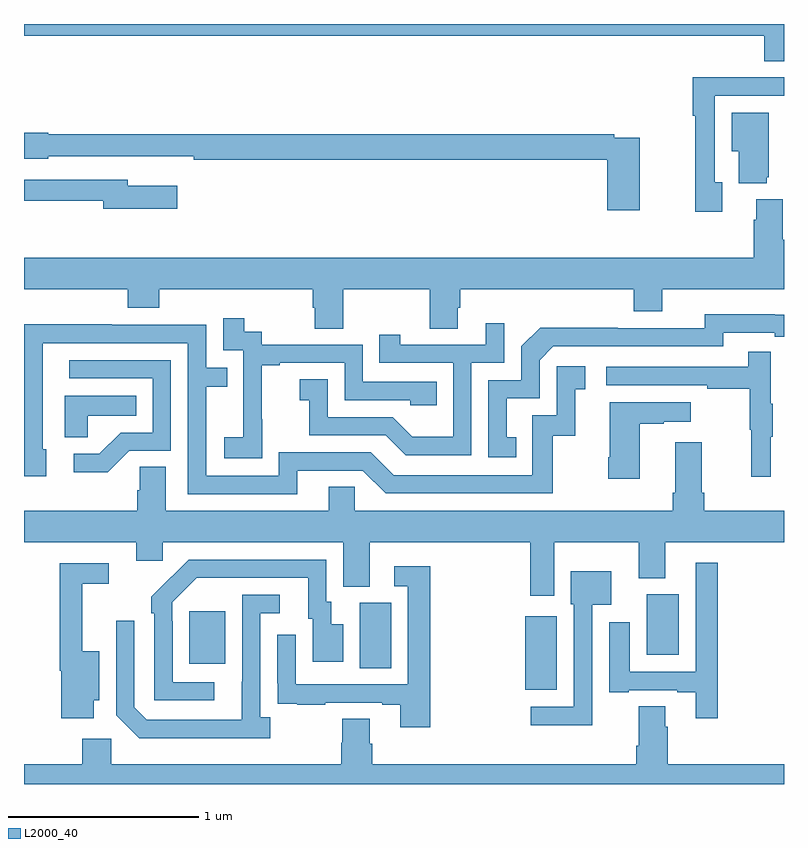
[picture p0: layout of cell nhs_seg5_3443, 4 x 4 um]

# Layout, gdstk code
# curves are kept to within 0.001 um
import gdstk
lib = gdstk.Library(unit=1e-6, precision=1e-09)
def R(c, l, rs):  # rectangles x0, y0, x1, y1
    for r in rs: c.add(gdstk.rectangle(r[:2], r[2:], *l))
def P(c, l, *ps):  # polygons
    for p in ps: c.add(gdstk.Polygon(p, *l))
L2000_40 = (2000, 40)

nhs_seg5_3443 = lib.new_cell('nhs_seg5_3443')
R(nhs_seg5_3443, L2000_40, [(315.638,877.295,315.805,877.681), (314.768,877.408,314.932,877.752), (313.871,877.433,314.059,877.708), (316.277,877.478,316.447,877.798)])
P(nhs_seg5_3443, L2000_40, [(317,880.799),(313,880.799),(313,880.736),(316.895,880.736),(316.895,880.603),(317,880.603)],
  [(316.675,879.966),(316.635,879.966),(316.635,880.422),(317,880.422),(317,880.518),(316.811,880.518),(316.811,880.52),(316.519,880.52),(316.519,880.315),(316.534,880.315),(316.534,879.81),(316.675,879.81)],
  [(316.91,879.993),(316.921,879.993),(316.921,880.333),(316.724,880.333),(316.724,880.13),(316.763,880.13),(316.763,879.962),(316.91,879.962)],
  [(316.24,880.2),(316.106,880.2),(316.106,880.22),(313.128,880.22),(313.128,880.226),(313,880.226),(313,880.091),(313.128,880.091),(313.128,880.104),(313.642,880.104),(313.642,880.103),(313.894,880.103),(313.894,880.084),(316.07,880.084),(316.07,879.819),(316.24,879.819)],
  [(313.807,879.949),(313.546,879.949),(313.546,879.978),(313,879.978),(313,879.87),(313.418,879.87),(313.418,879.827),(313.807,879.827)],
  [(314.679,879.404),(315.136,879.404),(315.136,879.196),(315.283,879.196),(315.283,879.306),(315.296,879.306),(315.296,879.404),(316.208,879.404),(316.208,879.287),(316.36,879.287),(316.36,879.404),(317,879.404),(317,879.664),(316.993,879.664),(316.993,879.877),(316.853,879.877),(316.853,879.77),(316.841,879.77),(316.841,879.568),(313,879.568),(313,879.404),(313.547,879.404),(313.547,879.305),(313.712,879.305),(313.712,879.404),(314.519,879.404),(314.519,879.306),(314.531,879.306),(314.531,879.196),(314.679,879.196)],
  [(315.59,878.625),(315.541,878.625),(315.541,878.829),(315.714,878.829),(315.714,879.03),(315.786,879.102),(316.68,879.102),(316.68,879.174),(316.952,879.174),(316.952,879.154),(317,879.154),(317,879.27),(316.584,879.271),(316.584,879.198),(316.124,879.198),(316.124,879.2),(315.716,879.2),(315.618,879.102),(315.618,878.925),(315.444,878.925),(315.444,878.52),(315.59,878.52)],
  [(314.253,878.719),(314.252,878.719),(314.252,879.003),(314.347,879.003),(314.347,879.015),(314.688,879.015),(314.688,878.82),(315.033,878.82),(315.033,878.793),(315.173,878.793),(315.173,878.916),(314.784,878.916),(314.784,879.111),(314.25,879.111),(314.25,879.18),(314.158,879.18),(314.158,879.25),(314.049,879.25),(314.049,879.081),(314.154,879.081),(314.154,878.852),(314.153,878.852),(314.153,878.623),(314.055,878.623),(314.055,878.513),(314.253,878.513)],
  [(315.354,879.015),(315.528,879.015),(315.528,879.223),(315.431,879.223),(315.431,879.111),(314.98,879.111),(314.98,879.163),(314.869,879.163),(314.869,879.015),(315.258,879.015),(315.258,878.626),(315.044,878.626),(314.94,878.73),(314.598,878.73),(314.598,878.929),(314.451,878.929),(314.451,878.819),(314.5,878.819),(314.5,878.634),(314.903,878.634),(315.008,878.529),(315.354,878.529)],
  [(314.437,878.448),(314.784,878.448),(314.904,878.328),(315.784,878.328),(315.784,878.631),(315.902,878.631),(315.902,878.877),(315.955,878.877),(315.955,878.998),(315.804,878.998),(315.804,878.739),(315.675,878.739),(315.675,878.424),(314.946,878.424),(314.826,878.544),(314.34,878.544),(314.34,878.421),(313.959,878.421),(313.959,878.89),(314.069,878.89),(314.069,878.991),(313.959,878.991),(313.959,879.216),(313.463,879.216),(313.463,879.218),(313,879.218),(313,878.911),(313.002,878.911),(313.002,878.418),(313.117,878.418),(313.117,878.562),(313.098,878.562),(313.098,879.12),(313.863,879.12),(313.863,878.325),(314.437,878.325)],
  [(316.931,878.627),(316.942,878.627),(316.942,878.801),(316.931,878.801),(316.931,879.073),(316.813,879.073),(316.813,878.994),(316.065,878.994),(316.065,878.898),(316.597,878.898),(316.597,878.878),(316.821,878.878),(316.821,878.664),(316.828,878.664),(316.828,878.415),(316.931,878.415)],
  [(313.554,878.553),(313.773,878.553),(313.773,879.03),(313.239,879.03),(313.239,878.934),(313.677,878.934),(313.677,878.649),(313.508,878.649),(313.397,878.538),(313.263,878.538),(313.263,878.441),(313.441,878.441)],
  [(313.335,878.738),(313.592,878.738),(313.592,878.842),(313.214,878.842),(313.214,878.623),(313.335,878.623)],
  [(316.24,878.695),(316.367,878.695),(316.367,878.705),(316.51,878.705),(316.51,878.809),(316.082,878.809),(316.082,878.518),(316.075,878.518),(316.075,878.406),(316.24,878.406)],
  [(315.79,878.072),(316.235,878.072),(316.235,877.883),(316.375,877.883),(316.375,878.072),(317,878.072),(317,878.236),(316.58,878.236),(316.58,878.332),(316.567,878.332),(316.567,878.599),(316.427,878.599),(316.427,878.332),(316.415,878.332),(316.415,878.236),(314.742,878.236),(314.742,878.363),(314.603,878.363),(314.603,878.236),(313.747,878.236),(313.747,878.468),(313.608,878.468),(313.608,878.345),(313.595,878.345),(313.595,878.236),(313,878.236),(313,878.072),(313.592,878.072),(313.592,877.974),(313.731,877.974),(313.731,878.072),(314.681,878.072),(314.681,877.837),(314.821,877.837),(314.821,878.072),(315.665,878.072),(315.665,877.791),(315.79,877.791)],
  [(314.002,877.335),(313.782,877.335),(313.782,877.655),(313.779,877.655),(313.779,877.755),(313.908,877.884),(314.495,877.884),(314.495,877.668),(314.519,877.668),(314.519,877.443),(314.68,877.443),(314.68,877.639),(314.617,877.639),(314.617,877.758),(314.592,877.758),(314.592,877.98),(313.868,877.98),(313.671,877.785),(313.671,877.697),(313.686,877.697),(313.686,877.239),(314.002,877.239)],
  [(316.652,877.963),(316.536,877.963),(316.536,877.389),(316.189,877.389),(316.189,877.651),(316.079,877.651),(316.079,877.281),(316.183,877.281),(316.183,877.293),(316.439,877.293),(316.439,877.281),(316.535,877.281),(316.535,877.146),(316.652,877.146)],
  [(313.366,877.241),(313.396,877.241),(313.396,877.498),(313.307,877.498),(313.307,877.854),(313.447,877.854),(313.447,877.962),(313.189,877.962),(313.189,877.394),(313.196,877.394),(313.196,877.146),(313.366,877.146)],
  [(315.137,877.945),(314.949,877.945),(314.949,877.839),(315.021,877.839),(315.021,877.323),(314.43,877.323),(314.43,877.585),(314.334,877.585),(314.334,877.33),(314.335,877.33),(314.335,877.221),(314.437,877.221),(314.437,877.215),(314.585,877.215),(314.585,877.227),(314.885,877.227),(314.885,877.215),(314.981,877.215),(314.981,877.098),(315.137,877.098)],
  [(315.99,877.742),(316.09,877.742),(316.09,877.918),(315.878,877.918),(315.878,877.746),(315.894,877.746),(315.894,877.206),(315.666,877.206),(315.666,877.109),(315.99,877.109)],
  [(314.296,877.15),(314.244,877.15),(314.244,877.698),(314.347,877.698),(314.347,877.794),(314.148,877.794),(314.147,877.137),(313.647,877.137),(313.581,877.203),(313.581,877.657),(313.485,877.657),(313.485,877.161),(313.606,877.04),(314.296,877.04)],
  [(316.375,877.1),(316.375,877.208),(316.235,877.208),(316.235,877),(316.223,877),(316.223,876.904),(314.834,876.904),(314.834,877.01),(314.821,877.01),(314.821,877.142),(314.674,877.142),(314.674,877.017),(314.669,877.017),(314.669,876.904),(313.458,876.904),(313.458,877.036),(313.307,877.036),(313.307,876.904),(313,876.904),(313,876.799),(317,876.799),(317,876.904),(316.388,876.904),(316.388,877.1)])

lib.write_gds('nhs_seg5_3443.gds')
